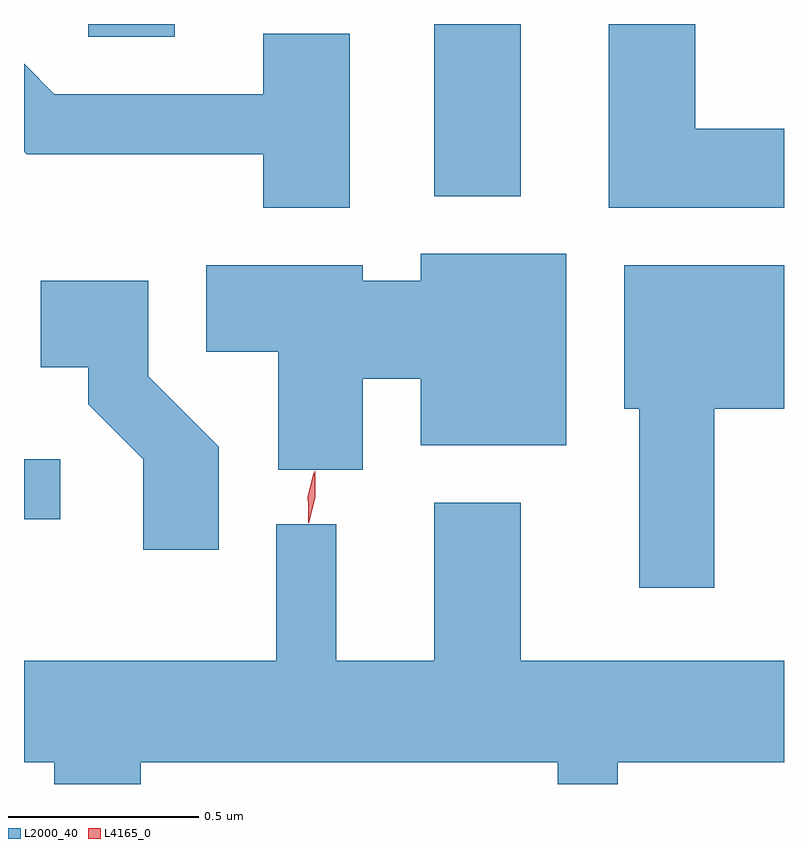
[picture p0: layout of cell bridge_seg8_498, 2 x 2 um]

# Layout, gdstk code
import gdstk
lib = gdstk.Library(unit=1e-6, precision=1e-09)
def R(c, l, rs):  # rectangles x0, y0, x1, y1
    for r in rs: c.add(gdstk.rectangle(r[:2], r[2:], *l))
def P(c, l, *ps):  # polygons
    for p in ps: c.add(gdstk.Polygon(p, *l))
L2000_40 = (2000, 40)
L4165_0 = (4165, 0)

bridge_seg8_498 = lib.new_cell('bridge_seg8_498')
R(bridge_seg8_498, L2000_40, [(209.062,1885.896,209.158,1886.054), (210.141,1886.746,210.369,1887.199), (209.231,1887.166,209.459,1887.199)])
P(bridge_seg8_498, L2000_40, [(211.062,1886.924),(210.829,1886.924),(210.829,1887.199),(210.601,1887.199),(210.601,1886.716),(211.062,1886.716)],
  [(209.919,1887.174),(209.691,1887.174),(209.691,1887.014),(209.142,1887.014),(209.062,1887.094),(209.062,1886.863),(209.069,1886.856),(209.691,1886.856),(209.691,1886.716),(209.919,1886.716)],
  [(209.954,1886.266),(210.106,1886.266),(210.106,1886.091),(210.489,1886.091),(210.489,1886.594),(210.106,1886.594),(210.106,1886.524),(209.954,1886.524),(209.954,1886.564),(209.541,1886.564),(209.541,1886.336),(209.731,1886.336),(209.731,1886.026),(209.954,1886.026)],
  [(210.879,1886.186),(211.062,1886.186),(211.062,1886.564),(210.641,1886.564),(210.641,1886.186),(210.681,1886.186),(210.681,1885.716),(210.879,1885.716)],
  [(209.574,1886.087),(209.389,1886.272),(209.389,1886.524),(209.106,1886.524),(209.106,1886.296),(209.231,1886.296),(209.231,1886.199),(209.376,1886.054),(209.376,1885.816),(209.574,1885.816)],
  [(209.369,1885.256),(210.466,1885.256),(210.466,1885.199),(210.624,1885.199),(210.624,1885.256),(211.062,1885.256),(211.062,1885.524),(210.369,1885.524),(210.369,1885.939),(210.141,1885.939),(210.141,1885.524),(209.884,1885.524),(209.884,1885.883),(209.726,1885.883),(209.726,1885.524),(209.062,1885.524),(209.062,1885.256),(209.141,1885.256),(209.141,1885.199),(209.369,1885.199)])
P(bridge_seg8_498, L4165_0, [(209.812,1885.888),(209.812,1885.889),(209.809,1885.955),(209.824,1886.02),(209.825,1886.021),(209.825,1886.02),(209.828,1885.954),(209.813,1885.889)],
  [(209.811,1885.885),(209.81,1885.886),(209.81,1885.955),(209.828,1886.022),(209.828,1886.023),(209.829,1886.022),(209.829,1885.953),(209.811,1885.886)])

lib.write_gds('bridge_seg8_498.gds')
